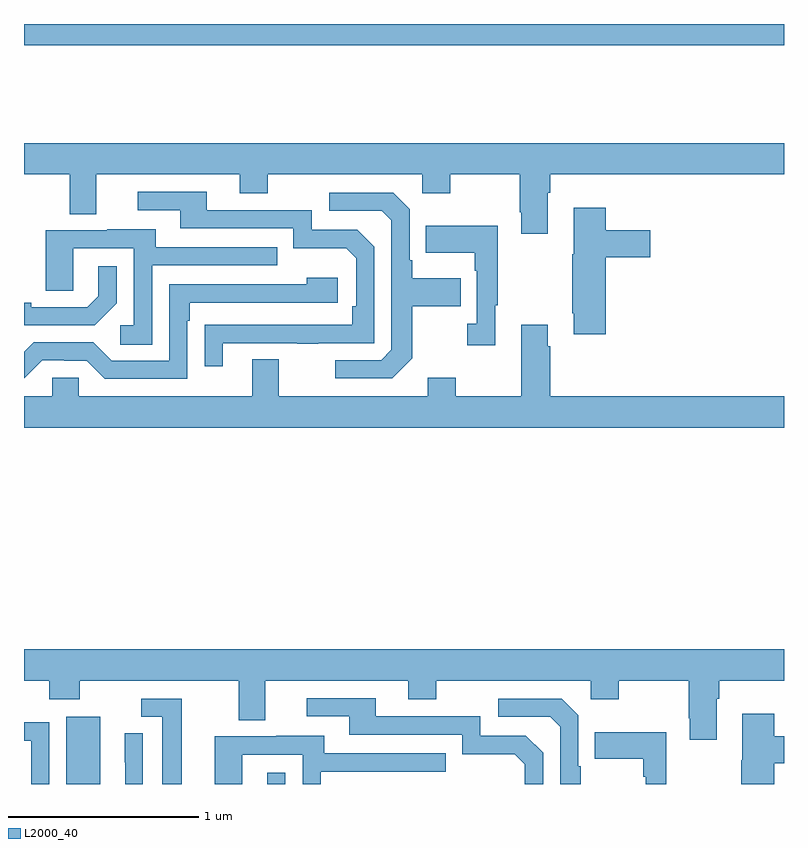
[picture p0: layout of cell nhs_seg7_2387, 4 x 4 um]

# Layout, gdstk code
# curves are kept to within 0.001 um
import gdstk
lib = gdstk.Library(unit=1e-6, precision=1e-09)
def R(c, l, rs):  # rectangles x0, y0, x1, y1
    for r in rs: c.add(gdstk.rectangle(r[:2], r[2:], *l))
def P(c, l, *ps):  # polygons
    for p in ps: c.add(gdstk.Polygon(p, *l))
L2000_40 = (2000, 40)

nhs_seg7_2387 = lib.new_cell('nhs_seg7_2387')
R(nhs_seg7_2387, L2000_40, [(265.223,1072,265.402,1072.354), (266.279,1072,266.376,1072.06), (265,1075.888,269,1076)])
P(nhs_seg7_2387, L2000_40, [(267.757,1075.112),(267.77,1075.112),(267.77,1075.208),(269,1075.208),(269,1075.372),(265,1075.372),(265,1075.208),(265.241,1075.208),(265.241,1075),(265.381,1075),(265.381,1075.208),(266.135,1075.208),(266.135,1075.109),(266.283,1075.109),(266.283,1075.208),(267.096,1075.208),(267.096,1075.109),(267.243,1075.109),(267.243,1075.208),(267.61,1075.208),(267.61,1075.009),(267.617,1075.009),(267.617,1074.897),(267.757,1074.897)],
  [(266.047,1074.321),(266.437,1074.321),(266.437,1074.316),(266.549,1074.316),(266.549,1074.321),(266.844,1074.321),(266.844,1074.828),(266.754,1074.918),(266.514,1074.918),(266.514,1075.02),(265.963,1075.02),(265.963,1075.116),(265.599,1075.116),(265.599,1075.02),(265.823,1075.02),(265.823,1074.924),(266.418,1074.924),(266.418,1074.821),(266.695,1074.821),(266.748,1074.768),(266.748,1074.514),(266.728,1074.514),(266.728,1074.417),(265.951,1074.416),(265.951,1074.198),(266.047,1074.198)],
  [(267.043,1074.241),(267.043,1074.514),(267.299,1074.514),(267.299,1074.661),(267.043,1074.661),(267.043,1074.757),(267.03,1074.757),(267.03,1075.026),(266.943,1075.113),(266.607,1075.113),(266.607,1075.017),(266.883,1075.017),(266.934,1074.966),(266.934,1074.285),(266.88,1074.231),(266.637,1074.231),(266.637,1074.135),(266.937,1074.135)],
  [(268.061,1074.773),(268.297,1074.773),(268.297,1074.915),(268.061,1074.915),(268.061,1075.033),(267.893,1075.033),(267.893,1074.789),(267.886,1074.789),(267.886,1074.478),(267.893,1074.478),(267.893,1074.366),(268.061,1074.366)],
  [(267.481,1074.521),(267.493,1074.521),(267.493,1074.937),(267.115,1074.937),(267.115,1074.797),(267.372,1074.797),(267.372,1074.701),(267.384,1074.701),(267.384,1074.422),(267.333,1074.422),(267.333,1074.309),(267.481,1074.309)],
  [(265.674,1074.729),(266.333,1074.729),(266.333,1074.825),(265.693,1074.825),(265.693,1074.919),(265.439,1074.919),(265.439,1074.915),(265.115,1074.915),(265.115,1074.595),(265.26,1074.595),(265.26,1074.819),(265.578,1074.819),(265.578,1074.414),(265.506,1074.414),(265.506,1074.313),(265.674,1074.313)],
  [(265.488,1074.53),(265.488,1074.724),(265.391,1074.724),(265.391,1074.567),(265.334,1074.51),(265.039,1074.51),(265.039,1074.533),(265,1074.533),(265,1074.414),(265.372,1074.414)],
  [(265.86,1074.437),(265.873,1074.437),(265.873,1074.534),(266.65,1074.534),(266.65,1074.664),(266.489,1074.664),(266.489,1074.63),(265.764,1074.63),(265.764,1074.228),(265.461,1074.228),(265.365,1074.324),(265.05,1074.324),(265,1074.274),(265,1074.136),(265.095,1074.231),(265.211,1074.231),(265.211,1074.228),(265.329,1074.228),(265.425,1074.132),(265.86,1074.132)],
  [(269,1074.04),(267.77,1074.04),(267.77,1074.305),(267.757,1074.305),(267.757,1074.418),(267.617,1074.418),(267.617,1074.04),(267.273,1074.04),(267.273,1074.139),(267.125,1074.139),(267.125,1074.04),(266.341,1074.04),(266.341,1074.235),(266.201,1074.235),(266.201,1074.04),(265.287,1074.04),(265.287,1074.138),(265.149,1074.138),(265.149,1074.04),(265,1074.04),(265,1073.876),(269,1073.876)],
  [(268.645,1072.448),(268.658,1072.448),(268.658,1072.544),(269,1072.544),(269,1072.708),(265,1072.708),(265,1072.544),(265.133,1072.544),(265.133,1072.445),(265.293,1072.445),(265.293,1072.544),(266.129,1072.544),(266.129,1072.336),(266.269,1072.336),(266.269,1072.544),(267.023,1072.544),(267.023,1072.445),(267.171,1072.445),(267.171,1072.544),(267.984,1072.544),(267.984,1072.445),(268.131,1072.445),(268.131,1072.544),(268.498,1072.544),(268.498,1072.345),(268.505,1072.345),(268.505,1072.233),(268.645,1072.233)],
  [(267.732,1072.164),(267.642,1072.254),(267.402,1072.254),(267.402,1072.356),(266.851,1072.356),(266.851,1072.452),(266.487,1072.452),(266.487,1072.356),(266.711,1072.356),(266.711,1072.26),(267.306,1072.26),(267.306,1072.157),(267.583,1072.157),(267.636,1072.104),(267.636,1072),(267.732,1072)],
  [(265.831,1072.449),(265.617,1072.449),(265.617,1072.353),(265.727,1072.353),(265.727,1072),(265.831,1072)],
  [(267.931,1072.093),(267.918,1072.093),(267.918,1072.362),(267.831,1072.449),(267.495,1072.449),(267.495,1072.353),(267.771,1072.353),(267.822,1072.302),(267.822,1072),(267.931,1072)],
  [(268.949,1072.109),(269,1072.109),(269,1072.251),(268.949,1072.251),(268.949,1072.369),(268.781,1072.369),(268.781,1072.125),(268.774,1072.125),(268.774,1072),(268.949,1072)],
  [(265.134,1072.326),(265,1072.326),(265,1072.227),(265.038,1072.227),(265.038,1072),(265.134,1072)],
  [(268.381,1072.273),(268.003,1072.273),(268.003,1072.133),(268.26,1072.133),(268.26,1072.037),(268.272,1072.037),(268.272,1072),(268.381,1072)],
  [(265.626,1072.268),(265.53,1072.268),(265.53,1072.114),(265.532,1072.114),(265.532,1072),(265.626,1072)],
  [(266.148,1072.155),(266.466,1072.155),(266.466,1072),(266.562,1072),(266.562,1072.065),(267.221,1072.065),(267.221,1072.161),(266.581,1072.161),(266.581,1072.255),(266.327,1072.255),(266.327,1072.251),(266.003,1072.251),(266.003,1072),(266.148,1072)])

lib.write_gds('nhs_seg7_2387.gds')
